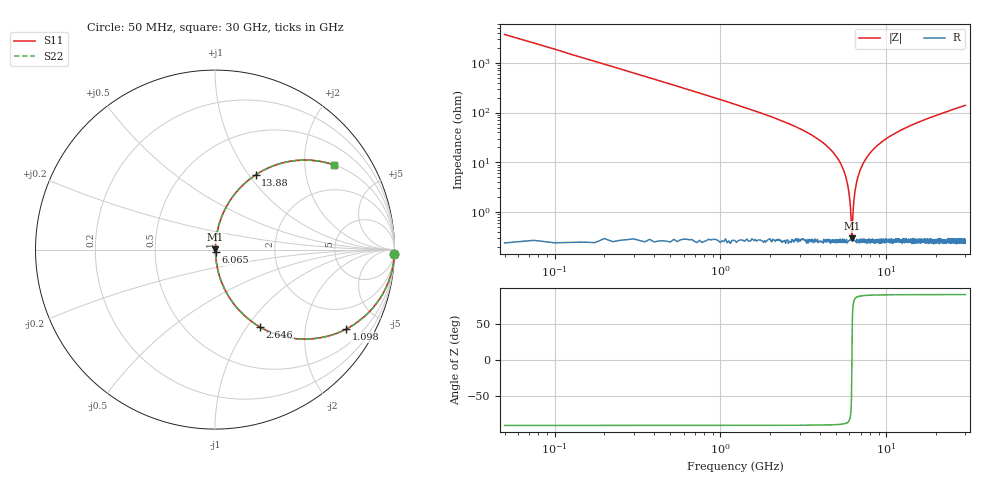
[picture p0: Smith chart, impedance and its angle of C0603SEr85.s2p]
!	AVX Thin Film Operation 	Date: April 2014
!	Description: Accu-P® Series, Thin Film  SMD RF Capacitor
!	Part Number: 06031JR85PBSTR
# MHZ S MA R 50
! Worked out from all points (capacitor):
!   1201 points, 50 MHz to 30 GHz, reference 50 ohm
!   read as one part in series: C = 849 fF near 199.8 MHz
!   lowest |Z| = 298 mohm at 6.215 GHz (marker M1)
!   series resonance near 6.205 GHz, so ESL is about 780 pH
!   S11 on the Smith chart (normalised r, x): 50 MHz: -0, -75; 1.098 GHz: 1.00, -3.30; 2.646 GHz: 1.01, -1.16; 6.065 GHz: 1.01, -0.03; 13.88 GHz: 1.01, +1.08; 30 GHz: 1.01, +2.79
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50  1 -1.5  0.027 88.5  0.027 88.5  1 -1.5
274.625  0.989 -8.4  0.145 81.6  0.145 81.6  0.989 -8.4
424.375  0.975 -12.8  0.222 77.1  0.222 77.1  0.975 -12.8
1098.25  0.855 -31.2  0.518 58.7  0.518 58.7  0.855 -31.2
2645.667  0.5 -59.7  0.864 30.0  0.864 30.0  0.5 -59.7
4093.25  0.25 -75.0  0.966 14.4  0.966 14.4  0.25 -75.0
5041.667  0.125 -81.6  0.99 7.2  0.99 7.2  0.125 -81.6
5740.5  0.047 -84.1  0.996 2.7  0.996 2.7  0.047 -84.1
5940.167  0.026 -82.8  0.997 1.5  0.997 1.5  0.026 -82.8
6064.958  0.014 -78.4  0.997 0.8  0.997 0.8  0.014 -78.4
6214.708  0.002797 19.7  0.997 -0.1  0.997 -0.1  0.002797 19.7
6314.542  0.011 75.4  0.997 -0.6  0.997 -0.6  0.011 75.4
6464.292  0.025 82.5  0.997 -1.4  0.997 -1.4  0.025 82.5
6614.042  0.039 83.9  0.997 -2.2  0.997 -2.2  0.039 83.9
7188.083  0.089 83.2  0.993 -5.1  0.993 -5.1  0.089 83.2
8286.25  0.174 79.1  0.982 -10.0  0.982 -10.0  0.174 79.1
10058.29  0.289 72.7  0.955 -16.8  0.955 -16.8  0.289 72.7
13876.92  0.474 61.4  0.878 -28.3  0.878 -28.3  0.474 61.4
15025  0.517 58.6  0.854 -31.2  0.854 -31.2  0.517 58.6
20016.67  0.66 48.6  0.75 -41.3  0.75 -41.3  0.66 48.6
25033.29  0.752 41.1  0.658 -48.7  0.658 -48.7  0.752 41.1
30000  0.812 35.6  0.582 -54.3  0.582 -54.3  0.812 35.6
